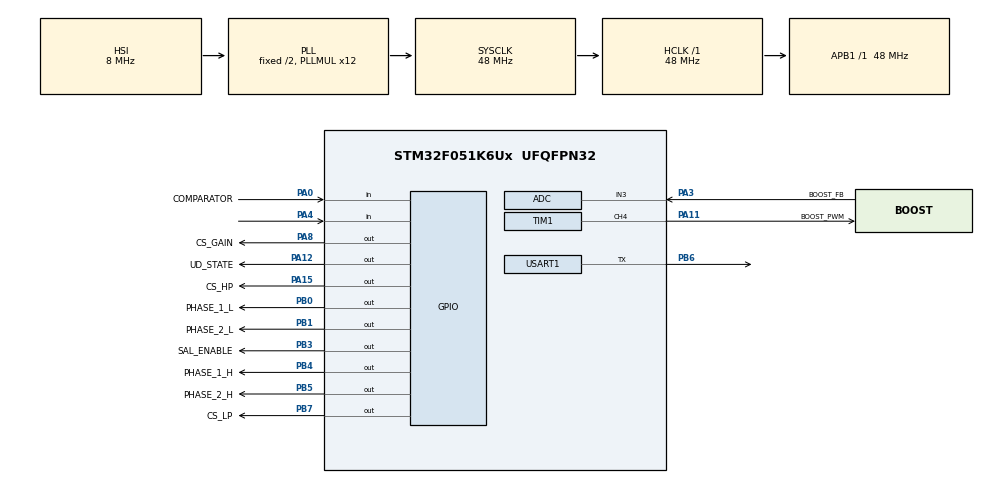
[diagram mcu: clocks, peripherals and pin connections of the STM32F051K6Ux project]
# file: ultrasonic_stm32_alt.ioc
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ADC.ClockPrescaler=ADC_CLOCK_ASYNC_DIV1
ADC.ContinuousConvMode=ENABLE
ADC.DMAContinuousRequests=ENABLE
ADC.DataAlign=ADC_DATAALIGN_RIGHT
ADC.DiscontinuousConvMode=DISABLE
ADC.EOCSelection=ADC_EOC_SINGLE_CONV
ADC.EnableAnalogWatchDog=false
ADC.ExternalTrigConv=ADC_SOFTWARE_START
ADC.ExternalTrigConvEdge=ADC_EXTERNALTRIGCONVEDGE_NONE
ADC.LowPowerAutoPowerOff=DISABLE
ADC.LowPowerAutoWait=DISABLE
ADC.Overrun=ADC_OVR_DATA_PRESERVED
ADC.Resolution=ADC_RESOLUTION_12B
ADC.SamplingTime=ADC_SAMPLETIME_1CYCLE_5
ADC.ScanConvMode=ADC_SCAN_DIRECTION_FORWARD
Dma.ADC.0.Direction=DMA_PERIPH_TO_MEMORY
Dma.ADC.0.Instance=DMA1_Channel1
Dma.ADC.0.MemDataAlignment=DMA_MDATAALIGN_HALFWORD
Dma.ADC.0.MemInc=DMA_MINC_ENABLE
Dma.ADC.0.Mode=DMA_CIRCULAR
Dma.ADC.0.PeriphDataAlignment=DMA_PDATAALIGN_HALFWORD
Dma.ADC.0.PeriphInc=DMA_PINC_DISABLE
Dma.ADC.0.Priority=DMA_PRIORITY_MEDIUM
Dma.Request0=ADC
Mcu.Family=STM32F0
Mcu.Name=STM32F051K6Ux
Mcu.Package=UFQFPN32
NVIC.DMA1_Channel1_IRQn=true\:0\:0\:false\:false\:true\:false
NVIC.TIM16_IRQn=true\:0\:0\:false\:false\:true\:true
PA0.GPIO_Label=COMPARATOR
PA0.Signal=GPIO_Input
PA11.GPIO_Label=BOOST_PWM
PA11.Signal=S_TIM1_CH4
PA12.GPIO_Label=UD_STATE
PA12.Signal=GPIO_Output
PA13.Mode=Serial_Wire
PA13.Signal=SYS_SWDIO
PA14.Mode=Serial_Wire
PA14.Signal=SYS_SWCLK
PA15.GPIO_Label=CS_HP
PA15.Signal=GPIO_Output
PA3.GPIO_Label=BOOST_FB
PA3.Mode=IN3
PA3.Signal=ADC_IN3
PA4.Signal=GPIO_Input
PA8.GPIO_Label=CS_GAIN
PA8.Signal=GPIO_Output
PB0.GPIO_Label=PHASE_1_L
PB0.Signal=GPIO_Output
PB1.GPIO_Label=PHASE_2_L
PB1.Signal=GPIO_Output
PB3.GPIO_Label=SAL_ENABLE
PB3.Signal=GPIO_Output
PB4.GPIO_Label=PHASE_1_H
PB4.Signal=GPIO_Output
PB5.GPIO_Label=PHASE_2_H
PB5.Signal=GPIO_Output
PB6.Mode=Half_duplex(single_wire_mode)
PB6.Signal=USART1_TX
PB7.GPIO_Label=CS_LP
PB7.Signal=GPIO_Output
ProjectManager.HeapSize=0x200
ProjectManager.StackSize=0x400
ProjectManager.TargetToolchain=Makefile
RCC.AHBFreq_Value=48000000
RCC.APB1Freq_Value=48000000
RCC.APB1TimFreq_Value=48000000
RCC.HCLKFreq_Value=48000000
RCC.PLLMUL=RCC_PLL_MUL12
RCC.SYSCLKFreq_VALUE=48000000
RCC.SYSCLKSource=RCC_SYSCLKSOURCE_PLLCLK
SH.S_TIM1_CH4.0=TIM1_CH4,PWM Generation4 CH4
TIM1.Channel-PWM\ Generation4\ CH4=TIM_CHANNEL_4
TIM1.Period=100
TIM1.Prescaler=1
TIM16.Period=1000
TIM17.Period=65000
TIM17.Prescaler=8
USART1.BaudRate=460800
USART1.Mode=MODE_TX
USART1.VirtualMode-Half_duplex(single_wire_mode)=VM_ASYNC
VP_TIM16_VS_ClockSourceINT.Mode=Enable_Timer
VP_TIM17_VS_ClockSourceINT.Mode=Enable_Timer
board=ultrasonic_stm32_alt

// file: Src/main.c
/**
  ******************************************************************************
  * @file           : main.c
  * @brief          : Main program body
  ******************************************************************************
  ** This notice applies to any and all portions of this file
  * that are not between comment pairs USER CODE BEGIN and
  * USER CODE END. Other portions of this file, whether
  * inserted by the user or by software development tools
  * are owned by their respective copyright owners.
  *
  * COPYRIGHT(c) 2018 STMicroelectronics
  *
  * Redistribution and use in source and binary forms, with or without modification,
  * are permitted provided that the following conditions are met:
  *   1. Redistributions of source code must retain the above copyright notice,
  *      this list of conditions and the following disclaimer.
  *   2. Redistributions in binary form must reproduce the above copyright notice,
  *      this list of conditions and the following disclaimer in the documentation
  *      and/or other materials provided with the distribution.
  *   3. Neither the name of STMicroelectronics nor the names of its contributors
  *      may be used to endorse or promote products derived from this software
  *      without specific prior written permission.
  *
  * THIS SOFTWARE IS PROVIDED BY THE COPYRIGHT HOLDERS AND CONTRIBUTORS "AS IS"
  * AND ANY EXPRESS OR IMPLIED WARRANTIES, INCLUDING, BUT NOT LIMITED TO, THE
  * IMPLIED WARRANTIES OF MERCHANTABILITY AND FITNESS FOR A PARTICULAR PURPOSE ARE
  * DISCLAIMED. IN NO EVENT SHALL THE COPYRIGHT HOLDER OR CONTRIBUTORS BE LIABLE
  * FOR ANY DIRECT, INDIRECT, INCIDENTAL, SPECIAL, EXEMPLARY, OR CONSEQUENTIAL
  * DAMAGES (INCLUDING, BUT NOT LIMITED TO, PROCUREMENT OF SUBSTITUTE GOODS OR
  * SERVICES; LOSS OF USE, DATA, OR PROFITS; OR BUSINESS INTERRUPTION) HOWEVER
  * CAUSED AND ON ANY THEORY OF LIABILITY, WHETHER IN CONTRACT, STRICT LIABILITY,
  * OR TORT (INCLUDING NEGLIGENCE OR OTHERWISE) ARISING IN ANY WAY OUT OF THE USE
  * OF THIS SOFTWARE, EVEN IF ADVISED OF THE POSSIBILITY OF SUCH DAMAGE.
  *
  ******************************************************************************
  */
#include "main.h"
#include "stm32f0xx_hal.h"

ADC_HandleTypeDef hadc;
DMA_HandleTypeDef hdma_adc;

TIM_HandleTypeDef htim1;
TIM_HandleTypeDef htim16;
TIM_HandleTypeDef htim17;

UART_HandleTypeDef huart1;

/* USER CODE BEGIN PV */

#ifdef __GNUC__
#define PUTCHAR_PROTOTYPE int __io_putchar(int ch)
#else
#define PUTCHAR_PROTOTYPE int fputc(int ch, FILE *f)
#endif /* __GNUC__ */

PUTCHAR_PROTOTYPE
{
HAL_UART_Transmit(&huart1, (uint8_t *)&ch, 1, 0xFFFF);

return ch;
}

/* Private variables ---------------------------------------------------------*/

/* USER CODE END PV */

void SystemClock_Config(void);
static void MX_GPIO_Init(void);
static void MX_DMA_Init(void);
static void MX_USART1_UART_Init(void);
static void MX_TIM1_Init(void);
static void MX_ADC_Init(void);
static void MX_TIM16_Init(void);
static void MX_TIM17_Init(void);

void HAL_TIM_MspPostInit(TIM_HandleTypeDef *htim);

/* USER CODE BEGIN PFP */
/* Private function prototypes -----------------------------------------------*/

/* USER CODE END PFP */

/* USER CODE BEGIN 0 */

#define ADC_SAMPLE_WIDTH 1024
#define POT_DELAY 100
#define MAX_PULSE_COUNT 70

#define PULSE_START 0
#define PULSE_END 1
#define PULSE_AMPLITUDE 2

static uint16_t adc_samples[ADC_SAMPLE_WIDTH];
static uint16_t pulses[MAX_PULSE_COUNT][3]; //[[pulse start, pulse end, pulse amplitude],...]
int pulse_number = 0;

static uint16_t digital_pulses[MAX_PULSE_COUNT][2]; //[[pulse start, pulse end],...]
int digital_pulse_number = 0;

volatile int adc_done = 0;
volatile int piezo_state = 0;
volatile int piezo_pulses = 0;

/////////////////////TIMERS////////////////////

void boost_pwm(uint16_t value)
{
    TIM_OC_InitTypeDef sConfigOC;

    sConfigOC.OCMode = TIM_OCMODE_PWM1;
    sConfigOC.Pulse = value;
    sConfigOC.OCPolarity = TIM_OCPOLARITY_HIGH;
    sConfigOC.OCFastMode = TIM_OCFAST_DISABLE;
    HAL_TIM_PWM_ConfigChannel(&htim1, &sConfigOC, TIM_CHANNEL_4);
    HAL_TIM_PWM_Start(&htim1, TIM_CHANNEL_4);
}

void wait_cycles(uint32_t cycles){ //0.19 us per cycle
  volatile int cycle_counter = 0;
  for(cycle_counter = 0;cycle_counter<cycles;cycle_counter++){
  }
}

void break_before(){
  HAL_GPIO_WritePin(PHASE_1_L_GPIO_Port, PHASE_1_L_Pin,0);
  HAL_GPIO_WritePin(PHASE_2_L_GPIO_Port, PHASE_2_L_Pin,0);
  HAL_GPIO_WritePin(PHASE_1_H_GPIO_Port, PHASE_1_H_Pin,0);
  HAL_GPIO_WritePin(PHASE_2_H_GPIO_Port, PHASE_2_H_Pin,0);
}

void HAL_TIM_PeriodElapsedCallback(TIM_HandleTypeDef *htim)
{
  if(piezo_pulses){
    if(piezo_state){
      break_before(); //break before make.
      HAL_GPIO_WritePin(PHASE_1_L_GPIO_Port, PHASE_1_L_Pin,1);
      HAL_GPIO_WritePin(PHASE_2_L_GPIO_Port, PHASE_2_L_Pin,0);
      HAL_GPIO_WritePin(PHASE_1_H_GPIO_Port, PHASE_1_H_Pin,0);
      HAL_GPIO_WritePin(PHASE_2_H_GPIO_Port, PHASE_2_H_Pin,1);
    }
    else{
      break_before();
      HAL_GPIO_WritePin(PHASE_1_L_GPIO_Port, PHASE_1_L_Pin,0);
      HAL_GPIO_WritePin(PHASE_2_L_GPIO_Port, PHASE_2_L_Pin,1);
      HAL_GPIO_WritePin(PHASE_1_H_GPIO_Port, PHASE_1_H_Pin,1);
      HAL_GPIO_WritePin(PHASE_2_H_GPIO_Port, PHASE_2_H_Pin,0);
    }
    piezo_state = !piezo_state;
    piezo_pulses--;
  }
  else{
    HAL_GPIO_WritePin(PHASE_1_L_GPIO_Port, PHASE_1_L_Pin,0);
    HAL_GPIO_WritePin(PHASE_2_L_GPIO_Port, PHASE_2_L_Pin,0);
    HAL_GPIO_WritePin(PHASE_1_H_GPIO_Port, PHASE_1_H_Pin,0);
    HAL_GPIO_WritePin(PHASE_2_H_GPIO_Port, PHASE_2_H_Pin,0); //monitor boost voltage.
  }
}

void set_tx_frequency(uint32_t freq){
  htim16.Instance = TIM16;
  htim16.Init.Prescaler = 0;
  htim16.Init.CounterMode = TIM_COUNTERMODE_UP;
  htim16.Init.Period = (24000000UL/freq);
  htim16.Init.ClockDivision = TIM_CLOCKDIVISION_DIV1;
  htim16.Init.RepetitionCounter = 0;
  htim16.Init.AutoReloadPreload = TIM_AUTORELOAD_PRELOAD_DISABLE;
  if (HAL_TIM_Base_Init(&htim16) != HAL_OK)
  {
    _Error_Handler(__FILE__, __LINE__);
  }
}

/////////////////////RESISTORS///////////////////////

//CS_GAIN_Pin
//CS_HP_Pin
//CS_LP_Pin
void reset_resistor(GPIO_TypeDef* CS_Port, uint16_t CS_Pin){
  HAL_GPIO_WritePin(UD_STATE_GPIO_Port, UD_STATE_Pin, 1);
  wait_cycles(POT_DELAY);
  HAL_GPIO_WritePin(CS_Port, CS_Pin, 1);
  wait_cycles(POT_DELAY);
  HAL_GPIO_WritePin(CS_Port, CS_Pin, 0);

  for(int i = 0; i<100; i++){ //overrun the 64 positions to make sure we're all the way up.
    wait_cycles(POT_DELAY);
    HAL_GPIO_WritePin(UD_STATE_GPIO_Port, UD_STATE_Pin, 0);
    wait_cycles(POT_DELAY);
    HAL_GPIO_WritePin(UD_STATE_GPIO_Port, UD_STATE_Pin, 1);
  }
  HAL_GPIO_WritePin(CS_Port, CS_Pin, 1);
  wait_cycles(POT_DELAY);
  HAL_GPIO_WritePin(UD_STATE_GPIO_Port, UD_STATE_Pin, 0);
}

void set_resistor(int value, GPIO_TypeDef* CS_Port, uint16_t CS_Pin){
  reset_resistor(CS_Port,CS_Pin);
  HAL_GPIO_WritePin(UD_STATE_GPIO_Port, UD_STATE_Pin, 0);
  wait_cycles(POT_DELAY);
  HAL_GPIO_WritePin(CS_Port, CS_Pin, 1);
  wait_cycles(POT_DELAY);
  HAL_GPIO_WritePin(CS_Port, CS_Pin, 0);

  for(int i = 0; i<(64-value); i++){ //overrun the 64 positions to make sure we're all the way up.
    wait_cycles(POT_DELAY);
    HAL_GPIO_WritePin(UD_STATE_GPIO_Port, UD_STATE_Pin, 1);
    wait_cycles(POT_DELAY);
    HAL_GPIO_WritePin(UD_STATE_GPIO_Port, UD_STATE_Pin, 0);
  }
  HAL_GPIO_WritePin(CS_Port, CS_Pin, 1);
  wait_cycles(POT_DELAY);
  HAL_GPIO_WritePin(UD_STATE_GPIO_Port, UD_STATE_Pin, 0);
}

////////////////////ADC////////////////////////

void switch_adc_channel(uint32_t channel){
  HAL_ADC_DeInit(&hadc);
  MX_ADC_Init();
  ADC_ChannelConfTypeDef sConfig;
  sConfig.Channel = channel;
  sConfig.Rank = ADC_RANK_CHANNEL_NUMBER;
  sConfig.SamplingTime = ADC_SAMPLETIME_1CYCLE_5;
  if (HAL_ADC_ConfigChannel(&hadc, &sConfig) != HAL_OK)
  {
    _Error_Handler(__FILE__, __LINE__);
  }
}

void HAL_ADC_ConvCpltCallback(ADC_HandleTypeDef* hadc){
  adc_done = 1;
}

void read_adc_channel(uint32_t channel,uint32_t len){
  HAL_ADC_Stop_DMA(&hadc);
  switch_adc_channel(channel);
  HAL_ADC_Start_DMA(&hadc, (uint32_t *)adc_samples, len);
  while(!adc_done);
  HAL_ADC_Stop_DMA(&hadc);
}

float get_boost_voltage(){
  read_adc_channel(ADC_CHANNEL_3,128);
  return (((adc_samples[0]/4096.0)*3.3)/0.0909);
}

void dump_raw_samples(){
  for(int i = 0;i<ADC_SAMPLE_WIDTH;i++){
    printf("%i,%i\r\n",i,adc_samples[i]);
  }
}

////////////////////PROCESSING////////////////////////
uint16_t peak_detect(uint16_t start, uint16_t end){
  uint16_t peak = 0;
  for(start;start<end;start++){
    if(adc_samples[start] > peak){
      peak = adc_samples[start];
    }
  }
  return peak;
}

uint16_t peak_sample(){
  uint16_t peak = 0;
  uint16_t peak_sample = 0;

  for(uint16_t i = 0;i<ADC_SAMPLE_WIDTH;i++){
    if(adc_samples[i] > peak){
      peak = adc_samples[i];
      peak_sample = i;
    }
  }
  return peak_sample;
}

// int reject_pulses(){
//
// }

///////////////////////////PULSES///////////////////////

void set_pulse_amplitudes(){
  for(int i = 0;i<pulse_number;i++){
    pulses[i][PULSE_AMPLITUDE] = peak_detect(pulses[i][PULSE_START],pulses[i][PULSE_END]);
  }
}

void split_into_pulses(){
  uint16_t threshold = 3;
  pulse_number = 0;
  int pulse_found = 0;
  for(uint16_t i = 0;i<ADC_SAMPLE_WIDTH;i++){
    if(pulse_number > MAX_PULSE_COUNT-2){
      break;
    }
    if(adc_samples[i] > threshold){
      if(!pulse_found){
        pulses[pulse_number][PULSE_START] = i;
      }
      pulse_found = 1;
    }
    else{
      if(pulse_found){
        pulses[pulse_number][PULSE_END] = i;
        pulse_number++;
      }
      pulse_found = 0;
    }
  }
  set_pulse_amplitudes();
}

void dump_pulses(){
  for(int i = 0;i<pulse_number;i++){
    printf("%i,%i,%i\r\n",pulses[i][PULSE_START],pulses[i][PULSE_END],pulses[i][PULSE_AMPLITUDE]);
  }
}

void transmit_pulse_train(int power){ //10,20,35,50
  HAL_TIM_Base_Start_IT(&htim16);
  piezo_pulses = power;
  while(piezo_pulses);
  break_before();
  HAL_TIM_Base_Stop_IT(&htim16);
}
/* USER CODE END 4 */

/* USER CODE END 0 */

int main(void)
{

  /* MCU Configuration----------------------------------------------------------*/

  /* Reset of all peripherals, Initializes the Flash interface and the Systick. */
  HAL_Init();

  /* Configure the system clock */
  SystemClock_Config();

  /* Initialize all configured peripherals */
  MX_GPIO_Init();
  MX_DMA_Init();
  MX_USART1_UART_Init();
  MX_TIM1_Init();
  MX_ADC_Init();
  MX_TIM16_Init();
  MX_TIM17_Init();
  /* USER CODE BEGIN 2 */

  // set_resistor(35,CS_LP_GPIO_Port,CS_LP_Pin);
  // set_resistor(64,CS_HP_GPIO_Port,CS_HP_Pin);
  // set_resistor(0,CS_GAIN_GPIO_Port,CS_GAIN_Pin);

  HAL_TIM_Base_Start(&htim17); // Trying to start the base counter

  /* USER CODE END 2 */

  /* Infinite loop */
  /* USER CODE BEGIN WHILE */
  HAL_ADC_Stop_DMA(&hadc);
  switch_adc_channel(ADC_CHANNEL_1);
  while (1){
    // printf("Preparing\r\n");
    // HAL_ADC_Stop_DMA(&hadc);
    // HAL_ADC_Start_DMA(&hadc, (uint32_t *)adc_samples, ADC_SAMPLE_WIDTH);
    uint16_t peak_freq = 0;
    uint16_t peak_value = 0;
    uint16_t peak_sample_ = 0;
    uint32_t freq=41000;
    for(uint32_t freq=20000;freq<40000;freq+=50){
      set_tx_frequency(freq);
      boost_pwm(0);
      transmit_pulse_train(5);
      // wait_cycles(500);
      // sample
      // adc_done = 0;
      // HAL_ADC_Start_DMA(&hadc, (uint32_t *)adc_samples, ADC_SAMPLE_WIDTH);
      // HAL_GPIO_TogglePin(SAL_ENABLE_GPIO_Port, SAL_ENABLE_Pin);
      //
      digital_pulse_number = 0;
      int pulse_found = 0;
      htim17.Instance->CNT = 0;
      while(digital_pulse_number < MAX_PULSE_COUNT && htim17.Instance->CNT < 60000){
        if(HAL_GPIO_ReadPin(COMPARATOR_GPIO_Port,COMPARATOR_Pin)){
          if(!pulse_found){
            digital_pulses[digital_pulse_number][PULSE_START] = htim17.Instance->CNT;
          }
          pulse_found = 1;
        }
        else{
          if(pulse_found){
            digital_pulses[digital_pulse_number][PULSE_END] = htim17.Instance->CNT;
            digital_pulse_number++;
          }
          pulse_found = 0;
        }
      }
      // while(!(COMPARATOR_GPIO_Port->IDR & COMPARATOR_Pin) && !adc_done){
      //   count++;
      // }
      // while(!adc_done);
      //
      // HAL_GPIO_TogglePin(SAL_ENABLE_GPIO_Port, SAL_ENABLE_Pin);
      // HAL_ADC_Stop_DMA(&hadc);

      boost_pwm(10);
      HAL_Delay(3);

      // split_into_pulses();

      // for(int i = 0;i<pulse_number;i++){
      //   printf("%i,%i,%i,%i\r\n",freq,i,pulses[i][PULSE_START],pulses[i][PULSE_AMPLITUDE]);
      // }
      // printf("%i\r\n",pulses[0][PULSE_START]);
      // }
      // for(int i = 0;i<pulse_number;i++){
      // if(pulse_number > 4){
      //   printf("%i,%i\r\n",freq,digital_pulses[i][PULSE_START],digital_pulses[i][PULSE_END]);
      // }

      // printf("%i\r\n",count);
      //
      for(int i = 0;i<digital_pulse_number;i++){
        printf("%i,%i,%i\r\n",freq,i,digital_pulses[i][PULSE_START]);
      }
      // for(int i = 0;i<pulse_number;i++){
      //   printf("%i,%i,%i,%i,%i,%i\r\n",freq,i,pulses[i][PULSE_START],pulses[i][PULSE_END],pulses[i][PULSE_AMPLITUDE],count);
      // }
      // process
      // printf("%i,%i,%i\r\n",freq,peak_detect(),);
      // int current_peak = peak_detect();
      // if(current_peak > peak_value){
      //   peak_value = current_peak;
      //   peak_freq = freq;
      //   peak_sample_ = peak_sample();
      // }
      // for(int i = 0;i<ADC_SAMPLE_WIDTH;i++){
      //   printf("%i,%i,%i\r\n",freq,i,adc_samples[i]);
      // }
      // HAL_GPIO_TogglePin(SAL_ENABLE_GPIO_Port, SAL_ENABLE_Pin);
      // HAL_Delay(1);

    }
    printf("done\n");

  /* USER CODE END WHILE */

  }

}

void SystemClock_Config(void)
{

  RCC_OscInitTypeDef RCC_OscInitStruct;
  RCC_ClkInitTypeDef RCC_ClkInitStruct;
  RCC_PeriphCLKInitTypeDef PeriphClkInit;

    /**Initializes the CPU, AHB and APB busses clocks
    */
  RCC_OscInitStruct.OscillatorType = RCC_OSCILLATORTYPE_HSI|RCC_OSCILLATORTYPE_HSI14;
  RCC_OscInitStruct.HSIState = RCC_HSI_ON;
  RCC_OscInitStruct.HSI14State = RCC_HSI14_ON;
  RCC_OscInitStruct.HSICalibrationValue = 16;
  RCC_OscInitStruct.HSI14CalibrationValue = 16;
  RCC_OscInitStruct.PLL.PLLState = RCC_PLL_ON;
  RCC_OscInitStruct.PLL.PLLSource = RCC_PLLSOURCE_HSI;
  RCC_OscInitStruct.PLL.PLLMUL = RCC_PLL_MUL12;
  RCC_OscInitStruct.PLL.PREDIV = RCC_PREDIV_DIV1;
  if (HAL_RCC_OscConfig(&RCC_OscInitStruct) != HAL_OK)
  {
    _Error_Handler(__FILE__, __LINE__);
  }

    /**Initializes the CPU, AHB and APB busses clocks
    */
  RCC_ClkInitStruct.ClockType = RCC_CLOCKTYPE_HCLK|RCC_CLOCKTYPE_SYSCLK
                              |RCC_CLOCKTYPE_PCLK1;
  RCC_ClkInitStruct.SYSCLKSource = RCC_SYSCLKSOURCE_PLLCLK;
  RCC_ClkInitStruct.AHBCLKDivider = RCC_SYSCLK_DIV1;
  RCC_ClkInitStruct.APB1CLKDivider = RCC_HCLK_DIV1;

  if (HAL_RCC_ClockConfig(&RCC_ClkInitStruct, FLASH_LATENCY_1) != HAL_OK)
  {
    _Error_Handler(__FILE__, __LINE__);
  }

  PeriphClkInit.PeriphClockSelection = RCC_PERIPHCLK_USART1;
  PeriphClkInit.Usart1ClockSelection = RCC_USART1CLKSOURCE_PCLK1;
  if (HAL_RCCEx_PeriphCLKConfig(&PeriphClkInit) != HAL_OK)
  {
    _Error_Handler(__FILE__, __LINE__);
  }

    /**Configure the Systick interrupt time
    */
  HAL_SYSTICK_Config(HAL_RCC_GetHCLKFreq()/1000);

    /**Configure the Systick
    */
  HAL_SYSTICK_CLKSourceConfig(SYSTICK_CLKSOURCE_HCLK);

  /* SysTick_IRQn interrupt configuration */
  HAL_NVIC_SetPriority(SysTick_IRQn, 0, 0);
}

/* ADC init function */
static void MX_ADC_Init(void)
{

  ADC_ChannelConfTypeDef sConfig;

    /**Configure the global features of the ADC (Clock, Resolution, Data Alignment and number of conversion)
    */
  hadc.Instance = ADC1;
  hadc.Init.ClockPrescaler = ADC_CLOCK_ASYNC_DIV1;
  hadc.Init.Resolution = ADC_RESOLUTION_12B;
  hadc.Init.DataAlign = ADC_DATAALIGN_RIGHT;
  hadc.Init.ScanConvMode = ADC_SCAN_DIRECTION_FORWARD;
  hadc.Init.EOCSelection = ADC_EOC_SINGLE_CONV;
  hadc.Init.LowPowerAutoWait = DISABLE;
  hadc.Init.LowPowerAutoPowerOff = DISABLE;
  hadc.Init.ContinuousConvMode = ENABLE;
  hadc.Init.DiscontinuousConvMode = DISABLE;
  hadc.Init.ExternalTrigConv = ADC_SOFTWARE_START;
  hadc.Init.ExternalTrigConvEdge = ADC_EXTERNALTRIGCONVEDGE_NONE;
  hadc.Init.DMAContinuousRequests = ENABLE;
  hadc.Init.Overrun = ADC_OVR_DATA_PRESERVED;
  if (HAL_ADC_Init(&hadc) != HAL_OK)
  {
    _Error_Handler(__FILE__, __LINE__);
  }

    /**Configure for the selected ADC regular channel to be converted.
    */
  sConfig.Channel = ADC_CHANNEL_3;
  sConfig.Rank = ADC_RANK_CHANNEL_NUMBER;
  sConfig.SamplingTime = ADC_SAMPLETIME_1CYCLE_5;
  if (HAL_ADC_ConfigChannel(&hadc, &sConfig) != HAL_OK)
  {
    _Error_Handler(__FILE__, __LINE__);
  }

}

/* TIM1 init function */
static void MX_TIM1_Init(void)
{

  TIM_MasterConfigTypeDef sMasterConfig;
  TIM_OC_InitTypeDef sConfigOC;
  TIM_BreakDeadTimeConfigTypeDef sBreakDeadTimeConfig;

  htim1.Instance = TIM1;
  htim1.Init.Prescaler = 1;
  htim1.Init.CounterMode = TIM_COUNTERMODE_UP;
  htim1.Init.Period = 100;
  htim1.Init.ClockDivision = TIM_CLOCKDIVISION_DIV1;
  htim1.Init.RepetitionCounter = 0;
  htim1.Init.AutoReloadPreload = TIM_AUTORELOAD_PRELOAD_DISABLE;
  if (HAL_TIM_PWM_Init(&htim1) != HAL_OK)
  {
    _Error_Handler(__FILE__, __LINE__);
  }

  sMasterConfig.MasterOutputTrigger = TIM_TRGO_RESET;
  sMasterConfig.MasterSlaveMode = TIM_MASTERSLAVEMODE_DISABLE;
  if (HAL_TIMEx_MasterConfigSynchronization(&htim1, &sMasterConfig) != HAL_OK)
  {
    _Error_Handler(__FILE__, __LINE__);
  }

  sConfigOC.OCMode = TIM_OCMODE_PWM1;
  sConfigOC.Pulse = 0;
  sConfigOC.OCPolarity = TIM_OCPOLARITY_HIGH;
  sConfigOC.OCFastMode = TIM_OCFAST_DISABLE;
  sConfigOC.OCIdleState = TIM_OCIDLESTATE_RESET;
  sConfigOC.OCNIdleState = TIM_OCNIDLESTATE_RESET;
  if (HAL_TIM_PWM_ConfigChannel(&htim1, &sConfigOC, TIM_CHANNEL_4) != HAL_OK)
  {
    _Error_Handler(__FILE__, __LINE__);
  }

  sBreakDeadTimeConfig.OffStateRunMode = TIM_OSSR_DISABLE;
  sBreakDeadTimeConfig.OffStateIDLEMode = TIM_OSSI_DISABLE;
  sBreakDeadTimeConfig.LockLevel = TIM_LOCKLEVEL_OFF;
  sBreakDeadTimeConfig.DeadTime = 0;
  sBreakDeadTimeConfig.BreakState = TIM_BREAK_DISABLE;
  sBreakDeadTimeConfig.BreakPolarity = TIM_BREAKPOLARITY_HIGH;
  sBreakDeadTimeConfig.AutomaticOutput = TIM_AUTOMATICOUTPUT_DISABLE;
  if (HAL_TIMEx_ConfigBreakDeadTime(&htim1, &sBreakDeadTimeConfig) != HAL_OK)
  {
    _Error_Handler(__FILE__, __LINE__);
  }

  HAL_TIM_MspPostInit(&htim1);

}

/* TIM16 init function */
static void MX_TIM16_Init(void)
{

  htim16.Instance = TIM16;
  htim16.Init.Prescaler = 0;
  htim16.Init.CounterMode = TIM_COUNTERMODE_UP;
  htim16.Init.Period = 1000;
  htim16.Init.ClockDivision = TIM_CLOCKDIVISION_DIV1;
  htim16.Init.RepetitionCounter = 0;
  htim16.Init.AutoReloadPreload = TIM_AUTORELOAD_PRELOAD_DISABLE;
  if (HAL_TIM_Base_Init(&htim16) != HAL_OK)
  {
    _Error_Handler(__FILE__, __LINE__);
  }

}

/* TIM17 init function */
static void MX_TIM17_Init(void)
{

  htim17.Instance = TIM17;
  htim17.Init.Prescaler = 8;
  htim17.Init.CounterMode = TIM_COUNTERMODE_UP;
  htim17.Init.Period = 65000;
  htim17.Init.ClockDivision = TIM_CLOCKDIVISION_DIV1;
  htim17.Init.RepetitionCounter = 0;
  htim17.Init.AutoReloadPreload = TIM_AUTORELOAD_PRELOAD_DISABLE;
  if (HAL_TIM_Base_Init(&htim17) != HAL_OK)
  {
    _Error_Handler(__FILE__, __LINE__);
  }

}

/* USART1 init function */
static void MX_USART1_UART_Init(void)
{

  huart1.Instance = USART1;
  huart1.Init.BaudRate = 9600;
  huart1.Init.WordLength = UART_WORDLENGTH_8B;
  huart1.Init.StopBits = UART_STOPBITS_1;
  huart1.Init.Parity = UART_PARITY_NONE;
  huart1.Init.Mode = UART_MODE_TX;
  huart1.Init.HwFlowCtl = UART_HWCONTROL_NONE;
  huart1.Init.OverSampling = UART_OVERSAMPLING_16;
  huart1.Init.OneBitSampling = UART_ONE_BIT_SAMPLE_DISABLE;
  huart1.AdvancedInit.AdvFeatureInit = UART_ADVFEATURE_NO_INIT;
  if (HAL_HalfDuplex_Init(&huart1) != HAL_OK)
  {
    _Error_Handler(__FILE__, __LINE__);
  }

}

static void MX_DMA_Init(void)
{
  /* DMA controller clock enable */
  __HAL_RCC_DMA1_CLK_ENABLE();

  /* DMA interrupt init */
  /* DMA1_Channel1_IRQn interrupt configuration */
  HAL_NVIC_SetPriority(DMA1_Channel1_IRQn, 0, 0);
  HAL_NVIC_EnableIRQ(DMA1_Channel1_IRQn);

}

/** Configure pins as
        * Analog
        * Input
        * Output
        * EVENT_OUT
        * EXTI
*/
static void MX_GPIO_Init(void)
{

  GPIO_InitTypeDef GPIO_InitStruct;

  /* GPIO Ports Clock Enable */
  __HAL_RCC_GPIOA_CLK_ENABLE();
  __HAL_RCC_GPIOB_CLK_ENABLE();

  /*Configure GPIO pin Output Level */
  HAL_GPIO_WritePin(GPIOB, PHASE_1_L_Pin|PHASE_2_L_Pin|SAL_ENABLE_Pin|PHASE_1_H_Pin
                          |PHASE_2_H_Pin|CS_LP_Pin, GPIO_PIN_RESET);

  /*Configure GPIO pin Output Level */
  HAL_GPIO_WritePin(GPIOA, CS_GAIN_Pin|UD_STATE_Pin|CS_HP_Pin, GPIO_PIN_RESET);

  /*Configure GPIO pins : COMPARATOR_Pin PA4 */
  GPIO_InitStruct.Pin = COMPARATOR_Pin|GPIO_PIN_4;
  GPIO_InitStruct.Mode = GPIO_MODE_INPUT;
  GPIO_InitStruct.Pull = GPIO_NOPULL;
  HAL_GPIO_Init(GPIOA, &GPIO_InitStruct);

  /*Configure GPIO pins : PHASE_1_L_Pin PHASE_2_L_Pin SAL_ENABLE_Pin PHASE_1_H_Pin
                           PHASE_2_H_Pin CS_LP_Pin */
  GPIO_InitStruct.Pin = PHASE_1_L_Pin|PHASE_2_L_Pin|SAL_ENABLE_Pin|PHASE_1_H_Pin
                          |PHASE_2_H_Pin|CS_LP_Pin;
  GPIO_InitStruct.Mode = GPIO_MODE_OUTPUT_PP;
  GPIO_InitStruct.Pull = GPIO_NOPULL;
  GPIO_InitStruct.Speed = GPIO_SPEED_FREQ_LOW;
  HAL_GPIO_Init(GPIOB, &GPIO_InitStruct);

  /*Configure GPIO pins : CS_GAIN_Pin UD_STATE_Pin CS_HP_Pin */
  GPIO_InitStruct.Pin = CS_GAIN_Pin|UD_STATE_Pin|CS_HP_Pin;
  GPIO_InitStruct.Mode = GPIO_MODE_OUTPUT_PP;
  GPIO_InitStruct.Pull = GPIO_NOPULL;
  GPIO_InitStruct.Speed = GPIO_SPEED_FREQ_LOW;
  HAL_GPIO_Init(GPIOA, &GPIO_InitStruct);

}

void _Error_Handler(char *file, int line)
{
  /* USER CODE BEGIN Error_Handler_Debug */
  /* User can add his own implementation to report the HAL error return state */
  while(1)
  {
    printf("File: %s Line: %i",file,line);
  }
  /* USER CODE END Error_Handler_Debug */
}

/************************ (C) COPYRIGHT STMicroelectronics *****END OF FILE****/
